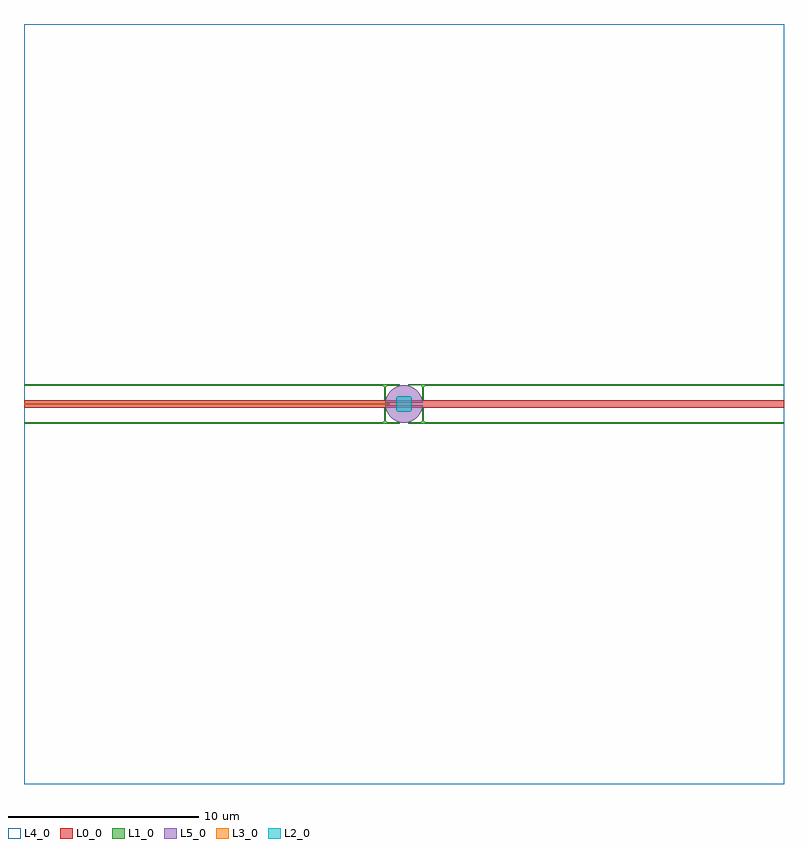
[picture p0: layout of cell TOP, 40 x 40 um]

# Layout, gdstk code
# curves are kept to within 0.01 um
import gdstk
lib = gdstk.Library(unit=1e-6, precision=1e-09)
def R(c, l, rs):  # rectangles x0, y0, x1, y1
    for r in rs: c.add(gdstk.rectangle(r[:2], r[2:], *l))
def P(c, l, *ps):  # polygons
    for p in ps: c.add(gdstk.Polygon(p, *l))
L0_0 = (0, 0)
L1_0 = (1, 0)
L2_0 = (2, 0)
L3_0 = (3, 0)
L4_0 = (4, 0)
L5_0 = (5, 0)

top = lib.new_cell('TOP')
R(top, L0_0, [(-20,-0.194,20,0.194)])
P(top, L1_0, [(-19.957,-1.05),(-20,-1.007),(-19.987,-0.966),(-19.957,-0.95),(-1.113,-0.95),(-1.072,-0.933),(-1.051,-0.894),(-1.05,-0.268),(-1.007,-0.225),(-0.966,-0.238),(-0.95,-0.268),(-0.95,-0.887),(-0.928,-0.933),(-0.887,-0.95),(-0.268,-0.95),(-0.225,-0.993),(-0.238,-1.034),(-0.268,-1.05)],
  [(0.268,-1.05),(0.225,-1.007),(0.238,-0.966),(0.268,-0.95),(0.887,-0.95),(0.933,-0.928),(0.95,-0.887),(0.95,-0.268),(0.993,-0.225),(1.034,-0.238),(1.05,-0.268),(1.051,-0.894),(1.072,-0.933),(1.113,-0.95),(19.957,-0.95),(20,-0.993),(19.987,-1.034),(19.957,-1.05)],
  [(-1.007,0.225),(-1.05,0.268),(-1.051,0.894),(-1.072,0.933),(-1.113,0.95),(-19.957,0.95),(-19.987,0.966),(-20,1.007),(-19.957,1.05),(-0.268,1.05),(-0.225,1.007),(-0.238,0.966),(-0.268,0.95),(-0.887,0.95),(-0.933,0.928),(-0.95,0.887),(-0.95,0.268),(-0.966,0.238)],
  [(0.993,0.225),(0.95,0.268),(0.95,0.887),(0.933,0.928),(0.887,0.95),(0.268,0.95),(0.225,0.993),(0.238,1.034),(0.268,1.05),(19.957,1.05),(20,1.007),(19.987,0.966),(19.957,0.95),(1.113,0.95),(1.072,0.933),(1.051,0.894),(1.05,0.268),(1.034,0.238)])
P(top, L2_0, [(-0.305,-0.4),(-0.367,-0.374),(-0.4,-0.305),(-0.4,0.305),(-0.374,0.367),(-0.305,0.4),(0.305,0.4),(0.367,0.374),(0.4,0.305),(0.4,-0.305),(0.374,-0.367),(0.305,-0.4)])
P(top, L3_0, [(-19.957,-0.05),(-20,-0.007),(-19.987,0.034),(-19.957,0.05),(-0.793,0.05),(-0.75,0.007),(-0.763,-0.034),(-0.793,-0.05)])
R(top, L4_0, [(-20,-20,20,20)])
P(top, L5_0, [(-0.024,-0.99),(-0.169,-0.976),(-0.356,-0.924),(-0.53,-0.837),(-0.683,-0.717),(-0.81,-0.57),(-0.885,-0.445),(-0.954,-0.264),(-0.988,-0.065),(0.988,-0.065),(0.954,-0.264),(0.885,-0.445),(0.781,-0.609),(0.647,-0.75),(0.53,-0.837),(0.356,-0.924),(0.169,-0.976)],
  [(-0.988,0.065),(-0.954,0.264),(-0.885,0.445),(-0.81,0.57),(-0.683,0.717),(-0.53,0.837),(-0.356,0.924),(-0.169,0.976),(-0.024,0.99),(0.169,0.976),(0.356,0.924),(0.53,0.837),(0.647,0.75),(0.781,0.609),(0.885,0.445),(0.954,0.264),(0.988,0.073)])

lib.write_gds('TOP.gds')
